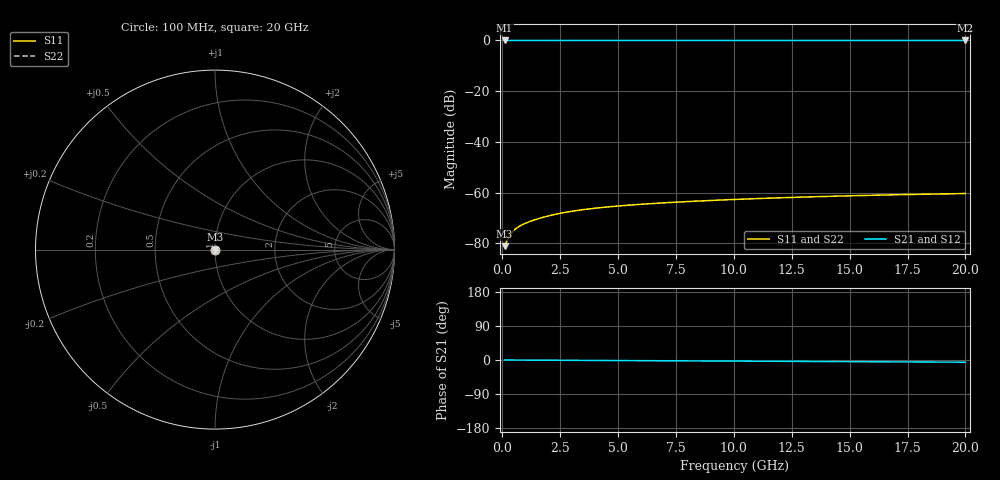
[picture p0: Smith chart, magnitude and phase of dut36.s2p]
! Touchstone file exported from HFSS 2026.1.0
!  File:  C:/ffzhzh/LocalFiles/Ansys_Project_Files/temp_train_TSV_36_1782958500_6388.aedt
!  Generated:  10:16:19 AM Jul  2, 2026
!  Design:  TSV
!  Project:  temp_train_TSV_36_1782958500_6388
! Variables:
!  h_bsmrdl = 2um
!  h_ox = 20um
!  h_rdl = 5um
!  h_sub = 54.65um
!  h_tmrdl = 5um
!  h_tsv = 54.65um
!  h_via = 3um
!  l_bsmrdl = 300um
!  l_sub = 422.68um
!  l_tmrdl = 200um
!  m_sub = 200um
!  pitch = 45.2um
!  r_tsv = 11.34um
!  s_tmrdl = 10um
!  w_bsmrdl = 18um
!  w_sub = 500um
!  w_tmrdl = 12um
!  x_tsv_center1 = 206um
!  x_tsv_center2 = 524um
!  x_tsv_center3 = 736um
!  x_tsv_center4 = 1054um
!  x_tsv_center5 = 1266um
!  x_tsv_center6 = 1584um
# GHz S MA R 50.000000
! Terminal data exported
! Port[1] = TSV1_1_T1
! Port[2] = TSV1_1_T2
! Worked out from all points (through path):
!   200 points, 100 MHz to 20 GHz, reference 50 ohm
!   highest |S21| = 0.00 dB at 100 MHz (marker M1); lowest = 0.0 dB at 20 GHz (marker M2)
!   lowest |S11| = -81.1 dB at 100 MHz (marker M3), VSWR 1.00, Z = 50 + j0.00326 ohm
!   |S11| at or under -10 dB: start of sweep to end of sweep
!   |S22| runs from -81.1 to -60.4 dB; largest |S21 - S12| = 2.4e-15
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0.1  8.767e-05 21.8  0.9999 -0.0  0.9999 -0.0  8.767e-05 21.8
! Gamma 0 0 0 0
! Port Impedance 50 0 50 0
0.2  0.0001109 33.6  0.9999 -0.1  0.9999 -0.1  0.0001109 33.6
0.3  0.0001363 38.2  0.9999 -0.1  0.9999 -0.1  0.0001363 38.2
0.4  0.0001593 39.7  0.9999 -0.1  0.9999 -0.1  0.0001593 39.7
0.5  0.0001791 40.1  0.9999 -0.2  0.9999 -0.2  0.0001792 40.1
0.6  0.0001961 40.1  0.9998 -0.2  0.9998 -0.2  0.0001962 40.1
0.7  0.000211 40.0  0.9998 -0.2  0.9998 -0.2  0.0002111 40.0
0.8  0.0002243 40.0  0.9998 -0.2  0.9998 -0.2  0.0002244 40.0
1  0.0002481 40.1  0.9998 -0.3  0.9998 -0.3  0.0002483 40.1
1.2  0.0002698 40.3  0.9998 -0.4  0.9998 -0.4  0.0002699 40.3
1.5  0.0003002 40.6  0.9997 -0.4  0.9997 -0.4  0.0003003 40.5
2.1  0.000356 40.4  0.9997 -0.6  0.9997 -0.6  0.000356 40.4
2.8  0.0004128 39.5  0.9997 -0.8  0.9997 -0.8  0.0004128 39.5
3.5  0.0004611 38.2  0.9996 -1.0  0.9996 -1.0  0.0004611 38.2
4.2  0.0005024 36.9  0.9996 -1.2  0.9996 -1.2  0.0005024 36.9
4.9  0.0005385 35.7  0.9996 -1.4  0.9996 -1.4  0.0005385 35.7
6.8  0.0006201 33.0  0.9995 -2.0  0.9995 -2.0  0.0006202 33.0
8.3  0.000675 31.2  0.9994 -2.4  0.9994 -2.4  0.000675 31.2
10.1  0.000734 29.1  0.9994 -2.9  0.9994 -2.9  0.000734 29.1
13.4  0.0008262 25.2  0.9993 -3.9  0.9993 -3.9  0.0008263 25.2
16.7  0.0008997 21.1  0.9992 -4.9  0.9992 -4.9  0.0008999 21.1
20  0.0009565 17.2  0.9991 -5.8  0.9991 -5.8  0.0009567 17.2
